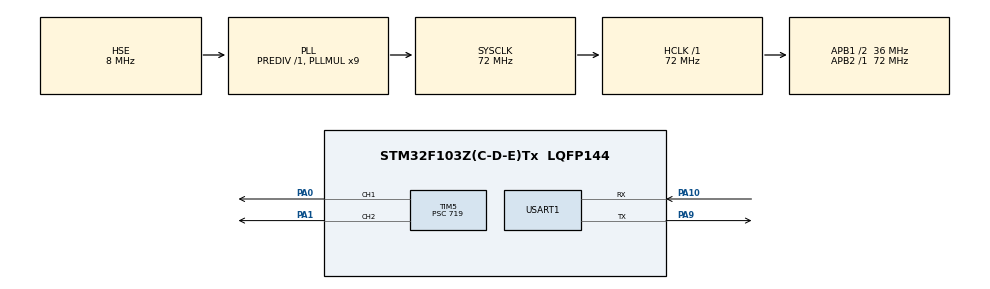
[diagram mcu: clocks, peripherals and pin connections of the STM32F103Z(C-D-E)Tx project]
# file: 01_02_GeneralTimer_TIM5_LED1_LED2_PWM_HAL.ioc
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Mcu.Family=STM32F1
Mcu.Name=STM32F103Z(C-D-E)Tx
Mcu.Package=LQFP144
NVIC.PriorityGroup=NVIC_PRIORITYGROUP_4
NVIC.TIM6_IRQn=true\:6\:0\:true\:false\:true\:true\:true\:true
NVIC.USART1_IRQn=true\:5\:0\:true\:false\:true\:true\:true\:true
OSC_IN.Mode=HSE-External-Oscillator
OSC_IN.Signal=RCC_OSC_IN
OSC_OUT.Mode=HSE-External-Oscillator
OSC_OUT.Signal=RCC_OSC_OUT
PA0-WKUP.Signal=S_TIM5_CH1
PA1.Signal=S_TIM5_CH2
PA10.Mode=Asynchronous
PA10.Signal=USART1_RX
PA13.Mode=Serial_Wire
PA13.Signal=SYS_JTMS-SWDIO
PA14.Mode=Serial_Wire
PA14.Signal=SYS_JTCK-SWCLK
PA9.Mode=Asynchronous
PA9.Signal=USART1_TX
PC14-OSC32_IN.Mode=LSE-External-Oscillator
PC14-OSC32_IN.Signal=RCC_OSC32_IN
PC15-OSC32_OUT.Mode=LSE-External-Oscillator
PC15-OSC32_OUT.Signal=RCC_OSC32_OUT
ProjectManager.HeapSize=0x200
ProjectManager.StackSize=0x400
ProjectManager.TargetToolchain=MDK-ARM V5.32
RCC.AHBFreq_Value=72000000
RCC.APB1CLKDivider=RCC_HCLK_DIV2
RCC.APB1Freq_Value=36000000
RCC.APB1TimFreq_Value=72000000
RCC.APB2Freq_Value=72000000
RCC.APB2TimFreq_Value=72000000
RCC.HCLKFreq_Value=72000000
RCC.PLLMUL=RCC_PLL_MUL9
RCC.PLLSourceVirtual=RCC_PLLSOURCE_HSE
RCC.SYSCLKFreq_VALUE=72000000
RCC.SYSCLKSource=RCC_SYSCLKSOURCE_PLLCLK
RCC.USBFreq_Value=72000000
SH.S_TIM5_CH1.0=TIM5_CH1,PWM Generation1 CH1
SH.S_TIM5_CH2.0=TIM5_CH2,PWM Generation2 CH2
TIM5.Channel-PWM\ Generation1\ CH1=TIM_CHANNEL_1
TIM5.Channel-PWM\ Generation2\ CH2=TIM_CHANNEL_2
TIM5.OC1Preload_PWM=DISABLE
TIM5.OC2Preload_PWM=DISABLE
TIM5.OCPolarity_1=TIM_OCPOLARITY_LOW
TIM5.Period=99
TIM5.Prescaler=719
TIM6.AutoReloadPreload=TIM_AUTORELOAD_PRELOAD_DISABLE
TIM6.Period=999
TIM6.Prescaler=7199
USART1.VirtualMode=VM_ASYNC
VP_TIM5_VS_ClockSourceINT.Mode=Internal
VP_TIM6_VS_ClockSourceINT.Mode=Enable_Timer
board=custom

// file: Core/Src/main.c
/* USER CODE BEGIN Header */
/**
  ******************************************************************************
  * @file           : main.c
  * @brief          : Main program body
  ******************************************************************************
  * @attention
  *
  * Copyright (c) 2025 STMicroelectronics.
  * All rights reserved.
  *
  * This software is licensed under terms that can be found in the LICENSE file
  * in the root directory of this software component.
  * If no LICENSE file comes with this software, it is provided AS-IS.
  *
  ******************************************************************************
  */
/* USER CODE END Header */
#include "main.h"
#include "tim.h"
#include "usart.h"
#include "gpio.h"

void SystemClock_Config(void);

/* USER CODE BEGIN 0 */

uint8_t g_pwm_duty = 0; //记录 TIM5_CH2 输出 PWM 的占空比
uint8_t g_pwm_duty_dir = 0; //定义占空比递增/递减标志

// 重定义 TIM6 弱函数 每 10ms 调用一次
void HAL_TIM_PeriodElapsedCallback(TIM_HandleTypeDef *htim)
{
  // 判断是否是 TIM6
  if (htim == &htim6)
  {
    if (g_pwm_duty_dir == 0)
    {
      g_pwm_duty += 10;
    }
    if (g_pwm_duty_dir == 1)
    {
      g_pwm_duty -= 10;
    }
    printf("g_pwm_duty:%d",g_pwm_duty);

    // 变化占空比
    __HAL_TIM_SET_COMPARE(&htim5,TIM_CHANNEL_1,g_pwm_duty);
    __HAL_TIM_SET_COMPARE(&htim5,TIM_CHANNEL_2,g_pwm_duty);

    if (g_pwm_duty == 0 || g_pwm_duty == 100)
    {
      g_pwm_duty_dir = !g_pwm_duty_dir;
    }

  }

}

/* USER CODE END 0 */

int main(void)
{

  /* MCU Configuration--------------------------------------------------------*/

  /* Reset of all peripherals, Initializes the Flash interface and the Systick. */
  HAL_Init();

  /* Configure the system clock */
  SystemClock_Config();

  /* Initialize all configured peripherals */
  MX_GPIO_Init();
  MX_USART1_UART_Init();
  MX_TIM6_Init();
  MX_TIM5_Init();
  /* USER CODE BEGIN 2 */

  // 开启 TIM6 ,每个 10ms 产生一个更新中断
  HAL_TIM_Base_Start_IT(&htim6);
  // 开启 TIM5 ,周期T=1ms
  HAL_TIM_PWM_Start(&htim5,TIM_CHANNEL_1);
  HAL_TIM_PWM_Start(&htim5,TIM_CHANNEL_2);
  // 设置 占空比初始值
  __HAL_TIM_SET_COMPARE(&htim5,TIM_CHANNEL_1,g_pwm_duty);
  __HAL_TIM_SET_COMPARE(&htim5,TIM_CHANNEL_2,g_pwm_duty);

  /* USER CODE END 2 */

  /* Infinite loop */
  while (1)
  {

  }
}

void SystemClock_Config(void)
{
  RCC_OscInitTypeDef RCC_OscInitStruct = {0};
  RCC_ClkInitTypeDef RCC_ClkInitStruct = {0};

  /** Initializes the RCC Oscillators according to the specified parameters
  * in the RCC_OscInitTypeDef structure.
  */
  RCC_OscInitStruct.OscillatorType = RCC_OSCILLATORTYPE_HSE;
  RCC_OscInitStruct.HSEState = RCC_HSE_ON;
  RCC_OscInitStruct.HSEPredivValue = RCC_HSE_PREDIV_DIV1;
  RCC_OscInitStruct.HSIState = RCC_HSI_ON;
  RCC_OscInitStruct.PLL.PLLState = RCC_PLL_ON;
  RCC_OscInitStruct.PLL.PLLSource = RCC_PLLSOURCE_HSE;
  RCC_OscInitStruct.PLL.PLLMUL = RCC_PLL_MUL9;
  if (HAL_RCC_OscConfig(&RCC_OscInitStruct) != HAL_OK)
  {
    Error_Handler();
  }

  /** Initializes the CPU, AHB and APB buses clocks
  */
  RCC_ClkInitStruct.ClockType = RCC_CLOCKTYPE_HCLK|RCC_CLOCKTYPE_SYSCLK
                              |RCC_CLOCKTYPE_PCLK1|RCC_CLOCKTYPE_PCLK2;
  RCC_ClkInitStruct.SYSCLKSource = RCC_SYSCLKSOURCE_PLLCLK;
  RCC_ClkInitStruct.AHBCLKDivider = RCC_SYSCLK_DIV1;
  RCC_ClkInitStruct.APB1CLKDivider = RCC_HCLK_DIV2;
  RCC_ClkInitStruct.APB2CLKDivider = RCC_HCLK_DIV1;

  if (HAL_RCC_ClockConfig(&RCC_ClkInitStruct, FLASH_LATENCY_2) != HAL_OK)
  {
    Error_Handler();
  }
}

void Error_Handler(void)
{
  __disable_irq();
  while (1)
  {
  }
}
